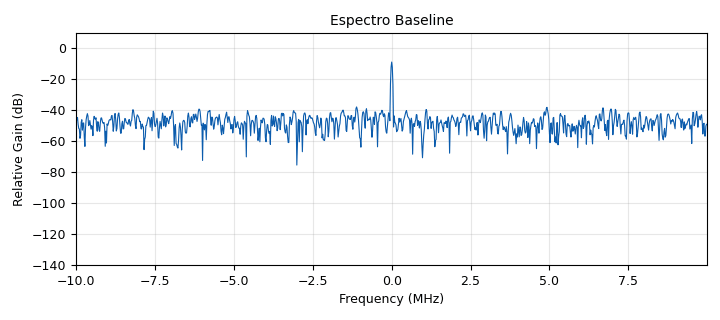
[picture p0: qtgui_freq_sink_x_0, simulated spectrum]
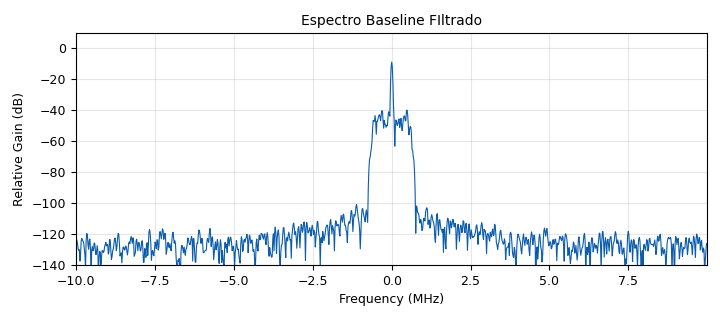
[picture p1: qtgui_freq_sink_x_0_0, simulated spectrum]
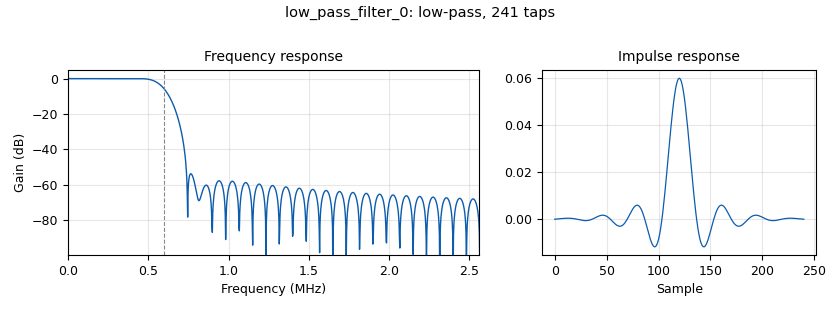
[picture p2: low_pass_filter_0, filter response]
options:
  parameters:
    generate_options: qt_gui
    id: Proyecto1
    output_language: python
    title: Mitigacion ruido ISM 2.4 GHz
  states: {}

blocks:
- name: samp_rate
  id: variable
  parameters:
    value: 20e6
  states: {}
- name: analog_probe_avg_mag_sqrd_x_0
  id: analog_probe_avg_mag_sqrd_x
  parameters:
    alpha: '0.0001 '
    threshold: '0'
    type: cf
  states: {}
- name: analog_probe_avg_mag_sqrd_x_0_0
  id: analog_probe_avg_mag_sqrd_x
  parameters:
    alpha: '0.0001 '
    threshold: '0'
    type: cf
  states: {}
- name: analog_sig_source_x_0
  id: analog_sig_source_x
  parameters:
    amp: '1'
    freq: '0'
    offset: '0'
    phase: '0'
    samp_rate: samp_rate
    type: complex
    waveform: analog.GR_COS_WAVE
  states: {}
- name: blocks_throttle2_0
  id: blocks_throttle2
  parameters:
    samples_per_second: samp_rate
    type: complex
  states: {}
- name: channels_channel_model_0
  id: channels_channel_model
  parameters:
    epsilon: '1.0'
    freq_offset: '0.0'
    noise_voltage: '0.3'
    seed: '0'
    taps: '1.0'
  states: {}
- name: low_pass_filter_0
  id: low_pass_filter
  parameters:
    cutoff_freq: 600e3
    decim: '1'
    gain: '1'
    samp_rate: samp_rate
    type: fir_filter_ccf
    width: 200e3
    win: window.WIN_HAMMING
  states: {}
- name: qtgui_freq_sink_x_0
  id: qtgui_freq_sink_x
  parameters:
    bw: samp_rate
    fc: '0'
    fftsize: '1024'
    name: '"Espectro Baseline"'
    type: complex
  states: {}
- name: qtgui_freq_sink_x_0_0
  id: qtgui_freq_sink_x
  parameters:
    bw: samp_rate
    fc: '0'
    fftsize: '1024'
    name: '"Espectro Baseline FIltrado"'
    type: complex
  states: {}
- name: qtgui_number_sink_0
  id: qtgui_number_sink
  parameters:
    graph_type: qtgui.NUM_GRAPH_HORIZ
    name: '"otencia Baseline"'
    type: float
  states: {}
- name: qtgui_number_sink_1
  id: qtgui_number_sink
  parameters:
    graph_type: qtgui.NUM_GRAPH_HORIZ
    name: '"Potencia Filtrada"'
    type: float
  states: {}

connections:
- [analog_probe_avg_mag_sqrd_x_0, '0', qtgui_number_sink_0, '0']
- [analog_probe_avg_mag_sqrd_x_0_0, '0', qtgui_number_sink_1, '0']
- [analog_sig_source_x_0, '0', channels_channel_model_0, '0']
- [blocks_throttle2_0, '0', analog_probe_avg_mag_sqrd_x_0, '0']
- [blocks_throttle2_0, '0', low_pass_filter_0, '0']
- [blocks_throttle2_0, '0', qtgui_freq_sink_x_0, '0']
- [channels_channel_model_0, '0', blocks_throttle2_0, '0']
- [low_pass_filter_0, '0', analog_probe_avg_mag_sqrd_x_0_0, '0']
- [low_pass_filter_0, '0', qtgui_freq_sink_x_0_0, '0']

metadata:
  file_format: 1
  grc_version: 3.10.9.2
